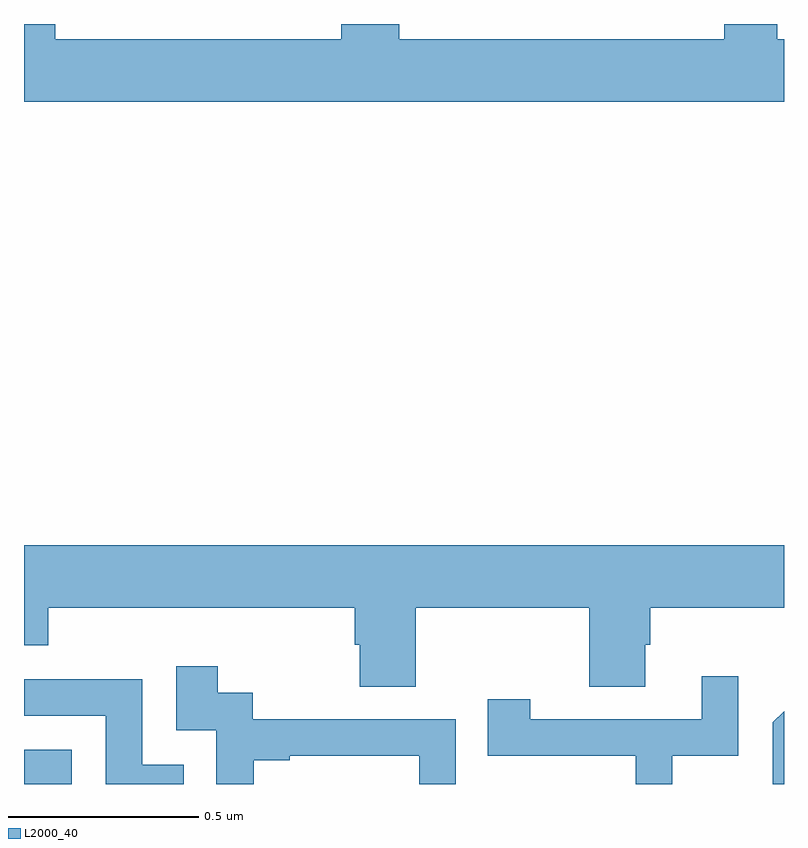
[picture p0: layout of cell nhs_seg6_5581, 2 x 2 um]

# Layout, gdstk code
import gdstk
lib = gdstk.Library(unit=1e-6, precision=1e-09)
def R(c, l, rs):  # rectangles x0, y0, x1, y1
    for r in rs: c.add(gdstk.rectangle(r[:2], r[2:], *l))
def P(c, l, *ps):  # polygons
    for p in ps: c.add(gdstk.Polygon(p, *l))
L2000_40 = (2000, 40)

nhs_seg6_5581 = lib.new_cell('nhs_seg6_5581')
R(nhs_seg6_5581, L2000_40, [(184,985.5,184.125,985.59)])
P(nhs_seg6_5581, L2000_40, [(184.835,987.46),(184.082,987.46),(184.082,987.5),(184,987.5),(184,987.296),(186,987.296),(186,987.46),(185.982,987.46),(185.982,987.5),(185.843,987.5),(185.843,987.46),(184.987,987.46),(184.987,987.5),(184.835,987.5)],
  [(185.031,985.964),(185.488,985.964),(185.488,985.756),(185.635,985.756),(185.635,985.866),(185.648,985.866),(185.648,985.964),(186,985.964),(186,986.128),(184,986.128),(184,985.865),(184.064,985.865),(184.064,985.964),(184.871,985.964),(184.871,985.866),(184.883,985.866),(184.883,985.756),(185.031,985.756)],
  [(184.604,985.563),(184.699,985.563),(184.699,985.575),(185.04,985.575),(185.04,985.5),(185.136,985.5),(185.136,985.671),(184.602,985.671),(184.602,985.74),(184.51,985.74),(184.51,985.81),(184.401,985.81),(184.401,985.641),(184.506,985.641),(184.506,985.5),(184.604,985.5)],
  [(185.706,985.575),(185.88,985.575),(185.88,985.783),(185.783,985.783),(185.783,985.671),(185.332,985.671),(185.332,985.723),(185.221,985.723),(185.221,985.575),(185.61,985.575),(185.61,985.5),(185.706,985.5)],
  [(184.421,985.551),(184.311,985.551),(184.311,985.776),(184,985.776),(184,985.68),(184.215,985.68),(184.215,985.5),(184.421,985.5)],
  [(186,985.692),(185.97,985.662),(185.97,985.5),(186,985.5)])

lib.write_gds('nhs_seg6_5581.gds')
